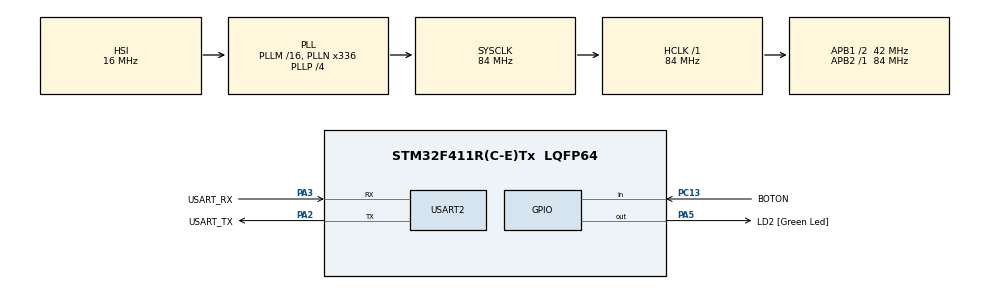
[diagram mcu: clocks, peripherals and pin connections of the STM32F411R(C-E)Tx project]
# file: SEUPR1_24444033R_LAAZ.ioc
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Mcu.Family=STM32F4
Mcu.Name=STM32F411R(C-E)Tx
Mcu.Package=LQFP64
NVIC.PriorityGroup=NVIC_PRIORITYGROUP_0
PA13.GPIO_Label=TMS
PA13.Mode=Serial_Wire
PA13.Signal=SYS_JTMS-SWDIO
PA14.GPIO_Label=TCK
PA14.Mode=Serial_Wire
PA14.Signal=SYS_JTCK-SWCLK
PA2.GPIO_Label=USART_TX
PA2.Mode=Asynchronous
PA2.Signal=USART2_TX
PA3.GPIO_Label=USART_RX
PA3.Mode=Asynchronous
PA3.Signal=USART2_RX
PA5.GPIO_Label=LD2 [Green Led]
PA5.Signal=GPIO_Output
PB3.GPIO_Label=SWO
PB3.Signal=SYS_JTDO-SWO
PC13-ANTI_TAMP.GPIO_Label=BOTON
PC13-ANTI_TAMP.GPIO_PuPd=GPIO_PULLUP
PC13-ANTI_TAMP.Signal=GPIO_Input
PC14-OSC32_IN.Mode=LSE-External-Oscillator
PC14-OSC32_IN.Signal=RCC_OSC32_IN
PC15-OSC32_OUT.Mode=LSE-External-Oscillator
PC15-OSC32_OUT.Signal=RCC_OSC32_OUT
PH0\ -\ OSC_IN.Mode=HSE-External-Clock-Source
PH0\ -\ OSC_IN.Signal=RCC_OSC_IN
PH1\ -\ OSC_OUT.Mode=HSE-External-Clock-Source
PH1\ -\ OSC_OUT.Signal=RCC_OSC_OUT
ProjectManager.HeapSize=0x200
ProjectManager.StackSize=0x400
ProjectManager.TargetToolchain=STM32CubeIDE
RCC.48MHZClocksFreq_Value=84000000
RCC.AHBFreq_Value=84000000
RCC.APB1CLKDivider=RCC_HCLK_DIV2
RCC.APB1Freq_Value=42000000
RCC.APB1TimFreq_Value=84000000
RCC.APB2Freq_Value=84000000
RCC.APB2TimFreq_Value=84000000
RCC.CortexFreq_Value=84000000
RCC.FLatency-AdvancedSettings=FLASH_LATENCY_2
RCC.HCLKFreq_Value=84000000
RCC.HSE_VALUE=8000000
RCC.HSI_VALUE=16000000
RCC.PLLN=336
RCC.PLLP=RCC_PLLP_DIV4
RCC.SYSCLKFreq_VALUE=84000000
RCC.SYSCLKSource=RCC_SYSCLKSOURCE_PLLCLK
RCC.VCOOutputFreq_Value=336000000
USART2.VirtualMode=VM_ASYNC
board=NUCLEO-F411RE

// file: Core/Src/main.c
/* USER CODE BEGIN Header */
/**
  ******************************************************************************
  * @file           : main.c
  * @brief          : Main program body
  ******************************************************************************
  * @attention
  *
  * Copyright (c) 2023 STMicroelectronics.
  * All rights reserved.
  *
  * This software is licensed under terms that can be found in the LICENSE file
  * in the root directory of this software component.
  * If no LICENSE file comes with this software, it is provided AS-IS.
  *
  ******************************************************************************
  */
/* USER CODE END Header */
#include "main.h"

UART_HandleTypeDef huart2;

void SystemClock_Config(void);
static void MX_GPIO_Init(void);
static void MX_USART2_UART_Init(void);
/* USER CODE BEGIN PFP */

int _write(int file, char *ptr, int len){
    int DataIdx;
    for (DataIdx = 0; DataIdx < len; DataIdx++){
   	//ITM_SendChar( *ptr++ );
   	HAL_UART_Transmit(&huart2, (uint8_t*)ptr++,1,1000);
    }
    return len;
}

/* USER CODE END PFP */

int main(void)
{

  /* MCU Configuration--------------------------------------------------------*/

  /* Reset of all peripherals, Initializes the Flash interface and the Systick. */
  HAL_Init();

  /* Configure the system clock */
  SystemClock_Config();

  /* Initialize all configured peripherals */
  MX_GPIO_Init();
  MX_USART2_UART_Init();

  /* Infinite loop */
  /* USER CODE BEGIN WHILE */

  int count=0;
  GPIO_PinState res;

  while (1)
  {
	  HAL_GPIO_WritePin(LD2_GPIO_Port, LD2_Pin, GPIO_PIN_RESET);
	  res = HAL_GPIO_ReadPin(BOTON_GPIO_Port, BOTON_Pin);

	  if(res==GPIO_PIN_RESET){
		  while(res==GPIO_PIN_RESET){
			  res = HAL_GPIO_ReadPin(BOTON_GPIO_Port, BOTON_Pin);
		  }
		  count++;
	  }
	  if(count>=3){
	  		  HAL_GPIO_WritePin(LD2_GPIO_Port, LD2_Pin, GPIO_PIN_SET);
	  		  for (int t=0;t<1000000;t++);
	  		  HAL_GPIO_WritePin(LD2_GPIO_Port, LD2_Pin, GPIO_PIN_RESET);
	  		  for (int t=0;t<1000000;t++);
	  	}
	  //if(count>=2){
	  //	  HAL_GPIO_WritePin(LD2_GPIO_Port, LD2_Pin, GPIO_PIN_RESET);

	  //}

    /* USER CODE END WHILE */

  }
}

void SystemClock_Config(void)
{
  RCC_OscInitTypeDef RCC_OscInitStruct = {0};
  RCC_ClkInitTypeDef RCC_ClkInitStruct = {0};

  /** Configure the main internal regulator output voltage
  */
  __HAL_RCC_PWR_CLK_ENABLE();
  __HAL_PWR_VOLTAGESCALING_CONFIG(PWR_REGULATOR_VOLTAGE_SCALE1);

  /** Initializes the RCC Oscillators according to the specified parameters
  * in the RCC_OscInitTypeDef structure.
  */
  RCC_OscInitStruct.OscillatorType = RCC_OSCILLATORTYPE_HSI;
  RCC_OscInitStruct.HSIState = RCC_HSI_ON;
  RCC_OscInitStruct.HSICalibrationValue = RCC_HSICALIBRATION_DEFAULT;
  RCC_OscInitStruct.PLL.PLLState = RCC_PLL_ON;
  RCC_OscInitStruct.PLL.PLLSource = RCC_PLLSOURCE_HSI;
  RCC_OscInitStruct.PLL.PLLM = 16;
  RCC_OscInitStruct.PLL.PLLN = 336;
  RCC_OscInitStruct.PLL.PLLP = RCC_PLLP_DIV4;
  RCC_OscInitStruct.PLL.PLLQ = 4;
  if (HAL_RCC_OscConfig(&RCC_OscInitStruct) != HAL_OK)
  {
    Error_Handler();
  }

  /** Initializes the CPU, AHB and APB buses clocks
  */
  RCC_ClkInitStruct.ClockType = RCC_CLOCKTYPE_HCLK|RCC_CLOCKTYPE_SYSCLK
                              |RCC_CLOCKTYPE_PCLK1|RCC_CLOCKTYPE_PCLK2;
  RCC_ClkInitStruct.SYSCLKSource = RCC_SYSCLKSOURCE_PLLCLK;
  RCC_ClkInitStruct.AHBCLKDivider = RCC_SYSCLK_DIV1;
  RCC_ClkInitStruct.APB1CLKDivider = RCC_HCLK_DIV2;
  RCC_ClkInitStruct.APB2CLKDivider = RCC_HCLK_DIV1;

  if (HAL_RCC_ClockConfig(&RCC_ClkInitStruct, FLASH_LATENCY_2) != HAL_OK)
  {
    Error_Handler();
  }
}

static void MX_USART2_UART_Init(void)
{

  huart2.Instance = USART2;
  huart2.Init.BaudRate = 115200;
  huart2.Init.WordLength = UART_WORDLENGTH_8B;
  huart2.Init.StopBits = UART_STOPBITS_1;
  huart2.Init.Parity = UART_PARITY_NONE;
  huart2.Init.Mode = UART_MODE_TX_RX;
  huart2.Init.HwFlowCtl = UART_HWCONTROL_NONE;
  huart2.Init.OverSampling = UART_OVERSAMPLING_16;
  if (HAL_UART_Init(&huart2) != HAL_OK)
  {
    Error_Handler();
  }

}

static void MX_GPIO_Init(void)
{
  GPIO_InitTypeDef GPIO_InitStruct = {0};

  /* GPIO Ports Clock Enable */
  __HAL_RCC_GPIOC_CLK_ENABLE();
  __HAL_RCC_GPIOH_CLK_ENABLE();
  __HAL_RCC_GPIOA_CLK_ENABLE();
  __HAL_RCC_GPIOB_CLK_ENABLE();

  /*Configure GPIO pin Output Level */
  HAL_GPIO_WritePin(LD2_GPIO_Port, LD2_Pin, GPIO_PIN_RESET);

  /*Configure GPIO pin : BOTON_Pin */
  GPIO_InitStruct.Pin = BOTON_Pin;
  GPIO_InitStruct.Mode = GPIO_MODE_INPUT;
  GPIO_InitStruct.Pull = GPIO_PULLUP;
  HAL_GPIO_Init(BOTON_GPIO_Port, &GPIO_InitStruct);

  /*Configure GPIO pin : LD2_Pin */
  GPIO_InitStruct.Pin = LD2_Pin;
  GPIO_InitStruct.Mode = GPIO_MODE_OUTPUT_PP;
  GPIO_InitStruct.Pull = GPIO_NOPULL;
  GPIO_InitStruct.Speed = GPIO_SPEED_FREQ_LOW;
  HAL_GPIO_Init(LD2_GPIO_Port, &GPIO_InitStruct);

}

void Error_Handler(void)
{
  __disable_irq();
  while (1)
  {
  }
}
